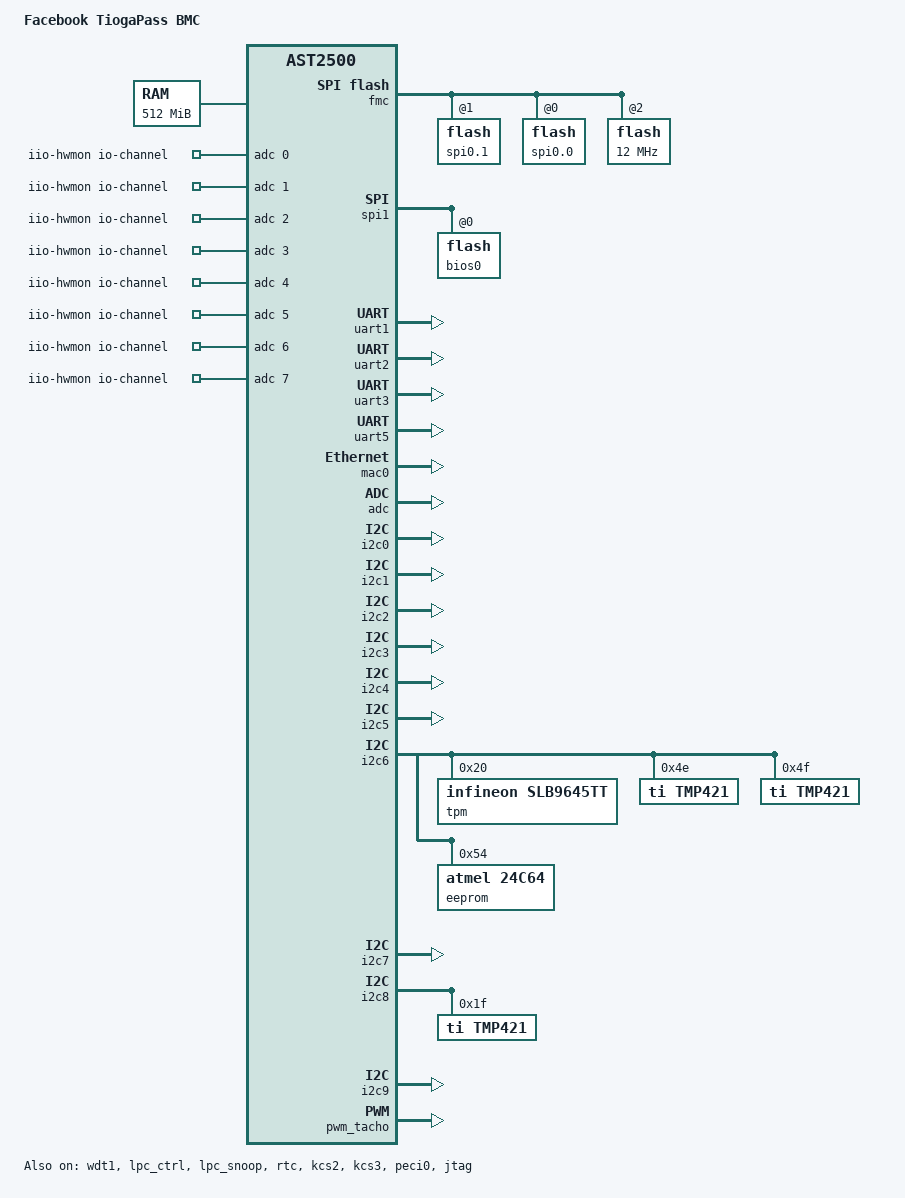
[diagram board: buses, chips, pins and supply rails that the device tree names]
// SPDX-License-Identifier: GPL-2.0+
// Copyright (c) 2018 Facebook Inc.
// Author: Vijay Khemka <vijaykhemka@fb.com>
/dts-v1/;

#include "aspeed-g5.dtsi"
#include <dt-bindings/gpio/aspeed-gpio.h>

/ {
	model = "Facebook TiogaPass BMC";
	compatible = "facebook,tiogapass-bmc", "aspeed,ast2500";
	aliases {
		serial0 = &uart5;
		serial1 = &uart1;
	};
	chosen {
		stdout-path = &uart5;
		bootargs = "debug console=ttyS4,57600n8 root=/dev/ram rw";
	};

	memory@80000000 {
		reg = <0x80000000 0x20000000>;
	};

	iio-hwmon {
		compatible = "iio-hwmon";
		io-channels = <&adc 0>, <&adc 1>, <&adc 2>, <&adc 3>,
				<&adc 4>, <&adc 5>, <&adc 6>, <&adc 7>;
	};
};

&wdt1 {
	status = "okay";
	pinctrl-names = "default";
	pinctrl-0 = <&pinctrl_wdtrst1_default>;
	aspeed,reset-type = "soc";
	aspeed,external-signal;
	aspeed,ext-push-pull;
	aspeed,ext-active-high;
	aspeed,ext-pulse-duration = <256>;
};

&fmc {
	status = "okay";
	// Main writable SPI flash
	flash@0 {
		status = "okay";
		m25p,fast-read;
		reg = < 1 >;
		label = "spi0.1";
#include "facebook-bmc-flash1-layout.dtsi"
	};
	// Golden BMC read-only image
	flash@1 {
		status = "okay";
		m25p,fast-read;
		reg = < 0 >;
		label = "spi0.0";
#include "facebook-bmc-flash0-layout.dtsi"
	};
	flash@2 {
		spi-max-frequency = <12000000>;
	};
};

&spi1 {
	status = "okay";
	pinctrl-names = "default";
	compatible = "aspeed,ast2500-spi-master";
	pinctrl-0 = <&pinctrl_spi1_default &pinctrl_spi1cs1_default>;
	flash@0 {
		status = "okay";
		m25p,fast-read;
		label = "bios0";
	};
};

&ibt {
	status = "disabled";
};

&lpc_ctrl {
	// Enable LPC clock
	status = "okay";
};

&lpc_snoop {
	status = "okay";
	snoop-ports = <0x80>;
};

&rtc {
	status = "okay";
};


&uart1 {
	// Host Console
	resets = <>;
	status = "okay";
	pinctrl-names = "default";
	pinctrl-0 = <&pinctrl_txd1_default
		     &pinctrl_rxd1_default>;
};

&uart2 {
	// SoL Host Console
	resets = <>;
	status = "okay";
};

&uart3 {
	// SoL BMC Console
	status = "okay";
};

&uart5 {
	// BMC Console
	status = "okay";
};

&kcs2 {
	// BMC KCS channel 2
	status = "okay";
	kcs_addr = <0xca8>;
};

&kcs3 {
	// BMC KCS channel 3
	status = "okay";
	kcs_addr = <0xca2>;
};

&mac0 {
	status = "okay";

	pinctrl-names = "default";
	pinctrl-0 = <&pinctrl_rmii1_default>;
	no-hw-checksum;
	use-ncsi;
};

&peci0 {
	status = "okay";
};

&adc {
	status = "okay";
};

&jtag {
	status = "okay";
};

&i2c0 {
	status = "okay";
	//Airmax Conn B, CPU0 PIROM, CPU1 PIROM
};

&i2c1 {
	status = "okay";
	//X24 Riser
	multi-master;
};

&i2c2 {
	status = "okay";
	// Mezz Management SMBus
};

&i2c3 {
	status = "okay";
	// SMBus to Board ID EEPROM
};

&i2c4 {
	status = "okay";
	// BMC Debug Header
	multi-master;
};

&i2c5 {
	status = "okay";
	// CPU Voltage regulators
};

&i2c6 {
	status = "okay";
	tpm@20 {
		compatible = "infineon,slb9645tt";
		reg = <0x20>;
	};
	tmp421@4e {
		compatible = "ti,tmp421";
		reg = <0x4e>;
	};
	tmp421@4f {
		compatible = "ti,tmp421";
		reg = <0x4f>;
	};
	eeprom@54 {
		compatible = "atmel,24c64";
		reg = <0x54>;
		pagesize = <32>;
	};
};

&i2c7 {
	status = "okay";
	//HSC, AirMax Conn A
};

&i2c8 {
	status = "okay";
	tmp421@1f {
		compatible = "ti,tmp421";
		reg = <0x1f>;
	};
	//Mezz Sensor SMBus
};

&i2c9 {
	status = "okay";
	//USB Debug Connector
	multi-master;
};

&pwm_tacho {
	status = "okay";
	pinctrl-names = "default";
	pinctrl-0 = <&pinctrl_pwm0_default &pinctrl_pwm1_default>;
	fan@0 {
		reg = <0x00>;
		aspeed,fan-tach-ch = /bits/ 8 <0x00>;
	};

	fan@1 {
		reg = <0x01>;
		aspeed,fan-tach-ch = /bits/ 8 <0x02>;
	};
};
